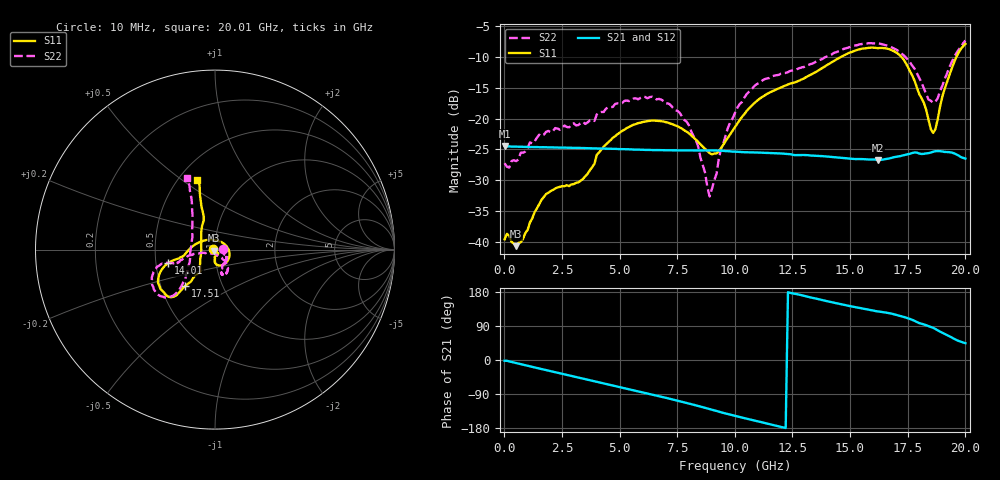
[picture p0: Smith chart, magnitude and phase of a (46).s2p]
! Hittite Microwave Corporation
! 2 Elizabeth Drive
! Chelmsford, MA 01824
! http://www.hittite.com
! Tel: 978-250-3343
! Fax: 978-250-3373
! Device:  HMC424LP3
! Description: 0.5 dB GaAs MMIC 6-Bit Digital Attenuator
! Frequency:  DC -  13.00 GHz
! Package:  LP3  - 3x3 mm Quad Flatpack No-Lead (QFN) Plastic Package: 16 pin
! Ports:  2 RF, 7 DC
!  Pad  1  = Ground
!  Pad  2  = RF IN  = Port 1
!  Pad  3  = Ground
!  Pad  4  = V6
!  Pad  5  = V5
!  Pad  6  = V4
!  Pad  7  = V3
!  Pad  8  = V2
!  Pad  9  = V1
!  Pad 10  = Ground
!  Pad 11  = RF OUT  = Port 2
!  Pad 12  = Ground
!  Pad 15  = VEE
! Control:  -5 Volt control voltage
! State:  44
! Attenuation:  22.0 dB
! Voltages:  Vdd = -5.00 Volts  Idd =  -2.397 mA
!  V1  = 0.00 Volts  I1  =  29.0 uA
!  V2  = 0.00 Volts  I2  =  29.0 uA
!  V3  = -5.00 Volts  I3  =  -1.0 uA
!  V4  = -5.00 Volts  I4  =  -1.0 uA
!  V5  = 0.00 Volts  I5  =  29.0 uA
!  V6  = -5.00 Volts  I6  =  -1.0 uA
! Data:  The device was measured on evaluation board 105354-1.
!  Data was collected using a calibrated network analyzer.
!  The evaluation circuit board was modeled and simulated.  This was use
!  to removed the evaluation board circuit from the measured data.
!  The reference plane is the edge of the package pin.
! Misc:  Lot xxxx, Unit 1
!  Application 20120001, Data collected in Application 20090083
! Date Measured:  2009-09-15
! Date:  2012-05-14  MJV
! Note:
!  Hittite supplies this data as a sample of measured data at the package pin
!  for this product.  Your particular data for this product may vary.
!  Data was taken at 25 degrees C.
!  Hittite reserves the right to change this data at anytime.
# GHz S MA R 50
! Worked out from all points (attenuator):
!   201 points, 10 MHz to 20.01 GHz, reference 50 ohm
!   highest |S21| = -24.45 dB at 10 MHz (marker M1); lowest = -26.7 dB at 16.21 GHz (marker M2)
!   lowest |S11| = -40.7 dB at 510 MHz (marker M3), VSWR 1.02, Z = 49.3 - j0.549 ohm
!   |S11| at or under -10 dB: start of sweep to 14.63 GHz; 17.22 GHz to 19.63 GHz (2.403 GHz wide, 13 % of centre)
!   |S22| runs from -32.6 to -7.4 dB; largest |S21 - S12| = 0.0016
!   S11 on the Smith chart (normalised r, x): 10 MHz: 0.98, +0.01; 14.01 GHz: 0.58, -0.09; 17.51 GHz: 0.66, -0.29; 20.01 GHz: 0.62, +0.57
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0.01  0.01053 144.5  0.05994 -2.1  0.0615 -2.2  0.04351 7.5
0.11  0.01168 -176.2  0.05948 -2.1  0.05943 -2.2  0.04068 0.8
0.51  0.009274 -143.1  0.05918 -8.0  0.05906 -8.1  0.0452 -12.9
1.81  0.02451 -50.1  0.05848 -26.5  0.05845 -26.7  0.07813 -32.4
3.41  0.0324 -76.8  0.05772 -49.2  0.05751 -49.3  0.0939 -54.1
4.91  0.07471 -89.4  0.05667 -70.3  0.05656 -70.4  0.1328 -73.4
6.71  0.09536 -49.7  0.05548 -95.4  0.05539 -95.5  0.1442 -63.5
8.01  0.07593 0.3  0.05527 -114.9  0.05509 -114.9  0.08811 -48.8
8.41  0.06476 21.3  0.05507 -121.2  0.05502 -121.2  0.05934 -49.5
8.91  0.05249 59.4  0.05518 -129.5  0.05508 -129.6  0.02339 -103.3
9.21  0.05222 88.2  0.05508 -134.6  0.055 -134.6  0.03572 -148.7
9.41  0.05788 107.3  0.05493 -138.1  0.05485 -138.1  0.05746 -159.3
10.01  0.08525 146.3  0.05399 -147.5  0.05389 -147.6  0.1112 -168.5
11.21  0.1501 -177.7  0.05286 -165.0  0.05278 -165.0  0.2037 -162.6
13.41  0.2316 -165.9  0.05006 163.6  0.0499 163.6  0.2799 -164.8
14.01  0.2711 -164.0  0.04923 155.1  0.04916 155.1  0.318 -164.4
16.21  0.3708 -139.9  0.04623 128.3  0.04618 128.2  0.4055 -142.0
16.71  0.3638 -133.2  0.04754 123.5  0.04744 123.4  0.3839 -135.9
17.51  0.2619 -129.4  0.05137 110.2  0.05126 110.2  0.2987 -131.6
18.61  0.07643 178.8  0.05384 84.8  0.05365 84.9  0.134 173.9
19.41  0.2517 107.4  0.05309 59.7  0.05295 59.7  0.2834 116.9
20.01  0.4014 104.3  0.04742 44.3  0.04752 44.3  0.4279 111.2
